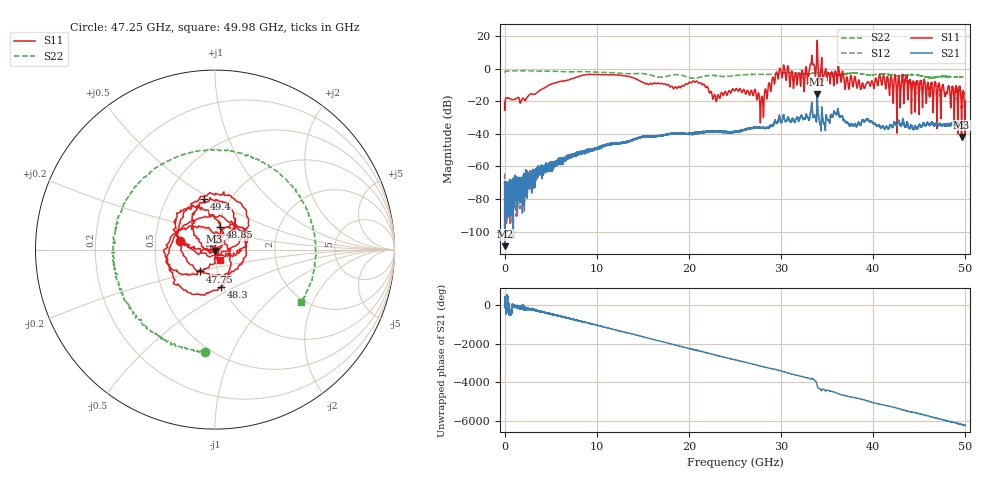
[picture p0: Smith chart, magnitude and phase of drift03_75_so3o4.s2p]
!Created with skrf (http://scikit-rf.org).
# Hz S RI R 50.0
!freq ReS11 ImS11 ReS21 ImS21 ReS12 ImS12 ReS22 ImS22
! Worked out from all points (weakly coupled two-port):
!   10001 points, 300 kHz to 50 GHz, reference 50 ohm
!   highest |S21| = -15.63 dB at 33.93 GHz (marker M1); lowest = -108.9 dB at 15.3 MHz (marker M2)
!   lowest |S11| = -41.9 dB at 49.58 GHz (marker M3), VSWR 1.02, Z = 49.7 - j0.753 ohm
!   |S11| at or under -10 dB: start of sweep to 4.85 GHz; 21.69 GHz to 28.62 GHz (6.931 GHz wide, 27.5 % of centre); 47.57 GHz to end of sweep (the widest 3 of 44)
!   |S22| runs from -5.9 to -1.3 dB; largest |S21 - S12| = 0.017
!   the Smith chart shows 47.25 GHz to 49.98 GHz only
!   S11 on the Smith chart (normalised r, x): 47.25 GHz: 0.67, +0.07; 47.75 GHz: 0.82, -0.20; 48.3 GHz: 0.98, -0.42; 48.85 GHz: 1.02, +0.26; 49.4 GHz: 0.76, +0.47; 49.98 GHz: 1.05, -0.13
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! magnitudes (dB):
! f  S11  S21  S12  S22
! 300 kHz  -21.2  -70.7  -64.4  -2.0
! 15.3 MHz  -24.5  -108.9  -78.5  -2.0
! 315.3 MHz  -17.9  -80.1  -74.6  -1.4
! 8.335 GHz  -4.3  -51.4  -51.7  -1.9
! 16.67 GHz  -8.8  -41.6  -41.5  -5.2
! 21.01 GHz  -8.7  -39.2  -39.0  -5.5
! 22.81 GHz  -16.1  -38.4  -38.8  -4.2
! 25 GHz  -13.4  -38.9  -38.8  -4.3
! 27.92 GHz  -17.2  -36.1  -36.5  -3.5
! 29.69 GHz  -6.3  -31.9  -31.7  -3.1
! 32.32 GHz  -1.5  -30.5  -30.6  -3.2
! 33.34 GHz  7.7  -20.7  -21.2  -2.9
! 33.93 GHz  17.0  -15.6  -16.0  -2.5
! 41.67 GHz  -9.1  -36.7  -36.5  -3.6
! 47.25 GHz  -13.8  -33.5  -34.1  -4.9
! 47.75 GHz  -16.6  -34.5  -34.3  -4.8
! 48.3 GHz  -13.6  -34.7  -34.3  -5.0
! 48.85 GHz  -17.9  -33.6  -34.1  -5.1
! 49.4 GHz  -10.8  -33.3  -33.7  -5.1
! 49.58 GHz  -41.9  -33.9  -34.0  -5.0
! 49.98 GHz  -23.7  -34.0  -33.9  -5.1
! 50 GHz  -20.0  -34.6  -34.3  -5.0
